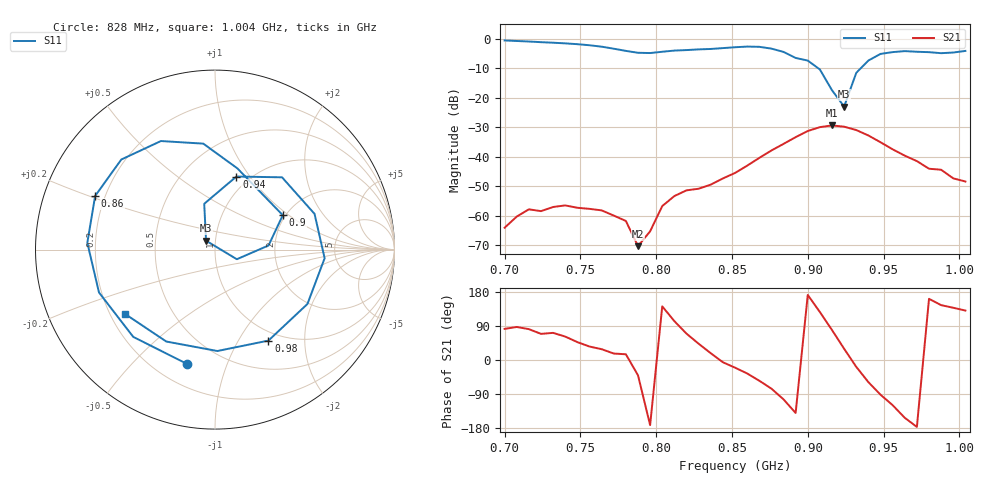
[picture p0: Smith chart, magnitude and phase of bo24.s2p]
# Hz S RI R 50
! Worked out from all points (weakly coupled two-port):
!   39 points, 700 MHz to 1.004 GHz, reference 50 ohm
!   highest |S21| = -29.45 dB at 916 MHz (marker M1); lowest = -70.4 dB at 788 MHz (marker M2)
!   lowest |S11| = -23.1 dB at 924 MHz (marker M3), VSWR 1.15, Z = 45 + j4.49 ohm
!   |S11| at or under -10 dB: 906.7 MHz to 935.1 MHz (28.39 MHz wide, 3.08 % of centre)
!   S12 and S22 are empty: the file has one direction only
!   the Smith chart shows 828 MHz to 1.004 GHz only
!   S11 on the Smith chart (normalised r, x): 828 MHz: 0.33, -0.73; 860 MHz: 0.16, +0.21; 900 MHz: 1.94, +0.90; 940 MHz: 0.87, +0.86; 980 MHz: 0.87, -1.35; 1.004 GHz: 0.26, -0.30
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7e8  0.761 0.5322  8.58e-05 0.000616  0 0  0 0
7.24e8  0.8281 -0.2616  0.000426 0.00111  0 0  0 0
7.4e8  0.4415 -0.7017  0.000702 0.00131  0 0  0 0
7.56e8  -0.2006 -0.7437  0.00106 0.000755  0 0  0 0
7.72e8  -0.6511 -0.1707  0.000955 0.000293  0 0  0 0
7.8e8  -0.5642 0.2526  0.000782 0.000211  0 0  0 0
7.88e8  -0.1926 0.5408  0.000231 -0.000196  0 0  0 0
8.04e8  0.5876 0.1075  -0.00113 0.0009  0 0  0 0
8.2e8  0.2171 -0.5998  0.000933 0.00251  0 0  0 0
8.28e8  -0.1571 -0.6363  0.00208 0.00194  0 0  0 0
8.52e8  -0.7113 0.0381  0.00494 -0.00182  0 0  0 0
8.6e8  -0.6677 0.2991  0.0057 -0.00406  0 0  0 0
8.84e8  -0.0652 0.5903  -0.0039 -0.0159  0 0  0 0
9e8  0.3777 0.1917  -0.0268 0.00393  0 0  0 0
9.08e8  0.2983 0.0229  -0.0188 0.0253  0 0  0 0
9.16e8  0.1217 -0.0536  0.00639 0.0331  0 0  0 0
9.24e8  -0.0499 0.0496  0.0279 0.0159  0 0  0 0
9.32e8  -0.0601 0.2552  0.0267 -0.00874  0 0  0 0
9.4e8  0.119 0.407  0.0119 -0.0194  0 0  0 0
9.56e8  0.5547 0.199  -0.00647 -0.0116  0 0  0 0
9.8e8  0.2976 -0.507  -0.00589 0.00198  0 0  0 0
1.004e9  -0.5038 -0.3567  -0.00245 0.00287  0 0  0 0
